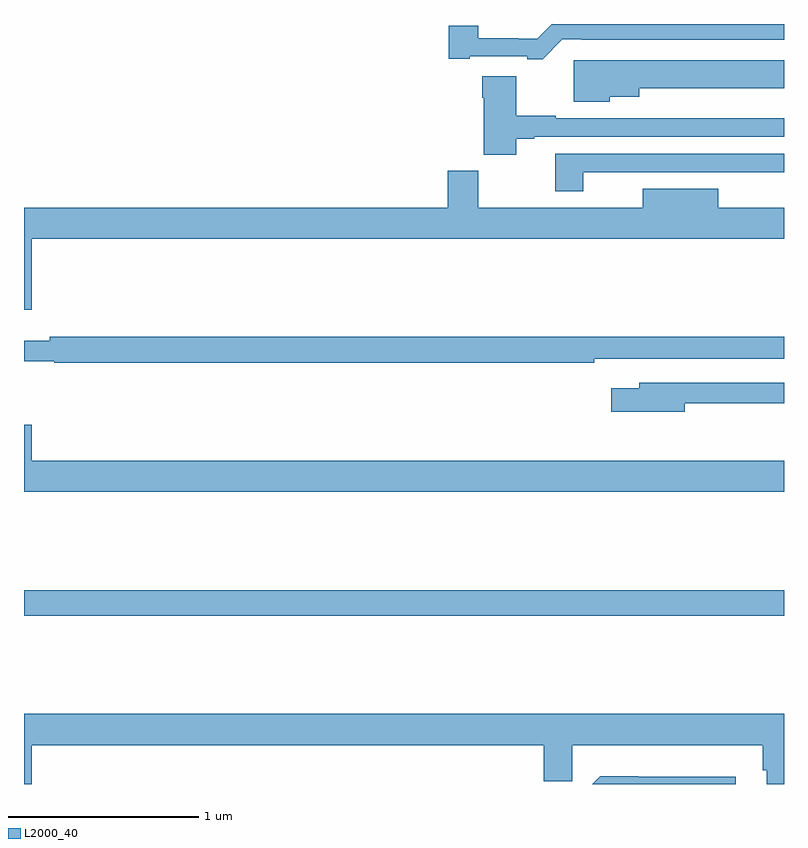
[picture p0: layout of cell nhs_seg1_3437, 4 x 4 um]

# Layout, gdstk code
import gdstk
lib = gdstk.Library(unit=1e-6, precision=1e-09)
def R(c, l, rs):  # rectangles x0, y0, x1, y1
    for r in rs: c.add(gdstk.rectangle(r[:2], r[2:], *l))
def P(c, l, *ps):  # polygons
    for p in ps: c.add(gdstk.Polygon(p, *l))
L2000_40 = (2000, 40)

nhs_seg1_3437 = lib.new_cell('nhs_seg1_3437')
R(nhs_seg1_3437, L2000_40, [(297,547.084,301,547.22)])
P(nhs_seg1_3437, L2000_40, [(299.834,550.118),(299.935,550.118),(299.935,550.116),(301,550.116),(301,550.199),(299.777,550.199),(299.7,550.122),(299.6,550.122),(299.6,550.125),(299.391,550.125),(299.391,550.189),(299.235,550.189),(299.235,550.017),(299.347,550.017),(299.347,550.029),(299.648,550.029),(299.648,550.014),(299.73,550.014)],
  [(300.084,549.815),(300.238,549.815),(300.238,549.86),(301,549.86),(301,550.009),(299.894,550.009),(299.894,549.791),(300.084,549.791)],
  [(299.59,549.594),(299.686,549.594),(299.686,549.606),(301,549.606),(301,549.703),(300.334,549.703),(300.334,549.702),(299.798,549.702),(299.798,549.715),(299.59,549.715),(299.59,549.925),(299.411,549.925),(299.411,549.812),(299.42,549.812),(299.42,549.512),(299.59,549.512)],
  [(299.943,549.419),(300.161,549.419),(300.161,549.42),(300.751,549.42),(300.751,549.419),(301,549.419),(301,549.516),(299.795,549.516),(299.795,549.318),(299.943,549.318)],
  [(297.04,549.068),(301,549.068),(301,549.232),(300.655,549.232),(300.655,549.331),(300.257,549.331),(300.257,549.232),(299.391,549.232),(299.391,549.427),(299.231,549.427),(299.231,549.232),(297,549.232),(297,548.694),(297.04,548.694)],
  [(300.002,548.436),(301,548.436),(301,548.552),(297.136,548.552),(297.136,548.533),(297,548.533),(297,548.424),(297.158,548.424),(297.158,548.416),(300.002,548.416)],
  [(300.478,548.202),(301,548.202),(301,548.31),(300.239,548.31),(300.239,548.281),(300.09,548.281),(300.09,548.159),(300.478,548.159)],
  [(301,547.9),(297.04,547.9),(297.04,548.089),(297,548.089),(297,547.736),(301,547.736)],
  [(297.04,546.404),(299.735,546.404),(299.735,546.213),(299.885,546.213),(299.885,546.404),(300.889,546.404),(300.889,546.272),(300.908,546.272),(300.908,546.199),(301,546.199),(301,546.568),(297,546.568),(297,546.199),(297.04,546.199)],
  [(300.745,546.238),(300.233,546.238),(300.233,546.241),(300.034,546.241),(299.992,546.199),(300.745,546.199)])

lib.write_gds('nhs_seg1_3437.gds')
